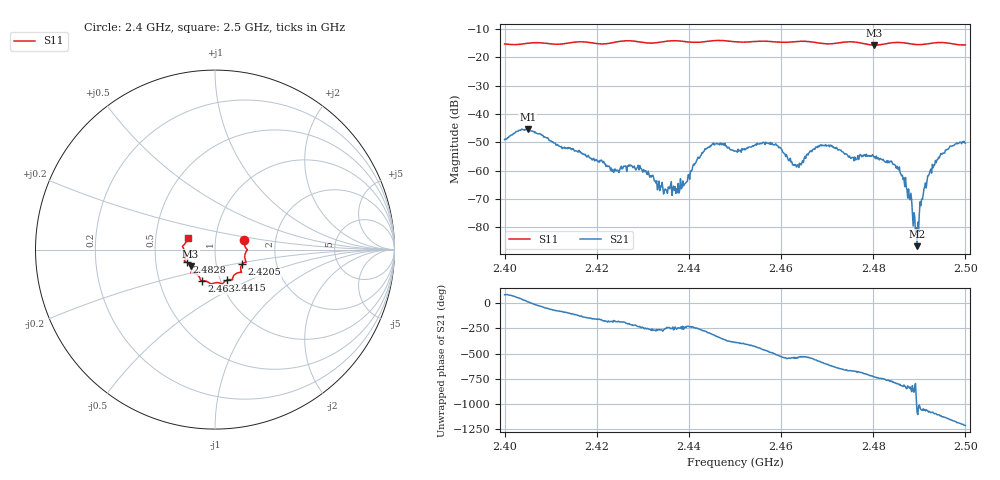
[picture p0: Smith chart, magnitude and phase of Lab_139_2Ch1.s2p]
# Hz S RI R 50
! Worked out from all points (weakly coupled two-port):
!   601 points, 2.4 GHz to 2.5 GHz, reference 50 ohm
!   highest |S21| = -45.38 dB at 2.405 GHz (marker M1); lowest = -86.6 dB at 2.4895 GHz (marker M2)
!   lowest |S11| = -15.7 dB at 2.4802 GHz (marker M3), VSWR 1.39, Z = 37.5 - j6.98 ohm
!   |S11| at or under -10 dB: start of sweep to end of sweep
!   S12 and S22 are empty: the file has one direction only
!   S11 on the Smith chart (normalised r, x): 2.4 GHz: 1.38, +0.15; 2.4205 GHz: 1.34, -0.22; 2.4415 GHz: 1.07, -0.38; 2.463 GHz: 0.82, -0.29; 2.4828 GHz: 0.72, -0.10; 2.5 GHz: 0.73, +0.10
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2.4e9  0.1632 0.0525  0.000321 0.00351  0 0  0 0
2.405e9  0.1759 0.00402  0.0052 0.0014  0 0  0 0
2.416667e9  0.1734 -0.0697  -0.00116 -0.00165  0 0  0 0
2.4205e9  0.1521 -0.0809  -0.00129 -0.000558  0 0  0 0
2.423833e9  0.1437 -0.1131  -0.00106 -6.8e-05  0 0  0 0
2.429333e9  0.1349 -0.1272  -0.000796 0.000938  0 0  0 0
2.433333e9  0.1003 -0.1515  -5.87e-05 0.000519  0 0  0 0
2.4375e9  0.0962 -0.1689  -0.000167 0.000374  0 0  0 0
2.4415e9  0.0658 -0.1703  -0.000534 0.00128  0 0  0 0
2.4455e9  0.0424 -0.1914  0.00205 0.00196  0 0  0 0
2.45e9  0.0246 -0.1856  0.00191 -0.00113  0 0  0 0
2.4585e9  -0.0338 -0.1836  -0.00219 -0.00181  0 0  0 0
2.463e9  -0.0719 -0.1735  -0.00123 0.000152  0 0  0 0
2.466667e9  -0.0815 -0.1674  -0.00215 0.000248  0 0  0 0
2.480167e9  -0.1361 -0.0907  0.0017 -0.000328  0 0  0 0
2.482833e9  -0.1585 -0.0701  0.000997 -0.000968  0 0  0 0
2.483333e9  -0.1625 -0.0683  0.00105 -0.00104  0 0  0 0
2.486167e9  -0.1702 -0.061  -0.000128 -0.000802  0 0  0 0
2.4895e9  -0.1644 -0.0291  4.67e-05 8.75e-07  0 0  0 0
2.4915e9  -0.1706 -0.00374  0.000458 0.000188  0 0  0 0
2.493333e9  -0.1791 0.0114  0.00121 -0.000362  0 0  0 0
2.5e9  -0.1518 0.064  -0.00212 -0.0022  0 0  0 0
